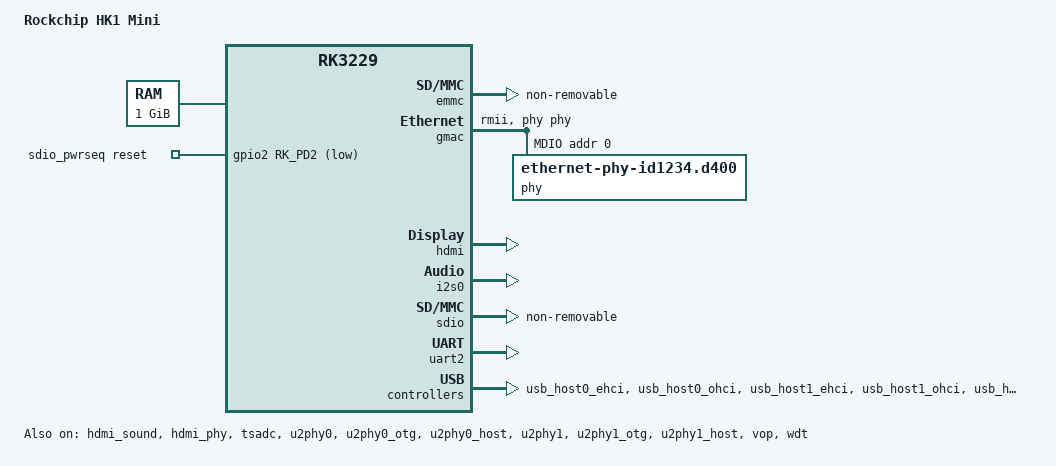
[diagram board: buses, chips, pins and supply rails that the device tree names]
// SPDX-License-Identifier: (GPL-2.0 OR MIT)

/dts-v1/;

#include <dt-bindings/clock/rk3228-cru.h>
#include <dt-bindings/gpio/gpio.h>
#include <dt-bindings/input/input.h>
#include <dt-bindings/pinctrl/rockchip.h>
#include "rk322x.dtsi"

/ {
	model = "Rockchip HK1 Mini";
	compatible = "friendlyarm,hk1-mini","rockchip,rk3229";
	
	aliases {
		ethernet0 = &rtl8125_1;
		ethernet1 = &rtl8125_2;
		mmc0 = &sdhci;
		mmc1 = &sdmmc0;

		led-boot = &power_led;
		led-failsafe = &power_led;
		led-running = &power_led;
		led-upgrade = &power_led;
	};

	chosen {
		bootargs = "earlyprintk=uart8250,mmio32,0x11030000";
	};

	gpio_keys {
		compatible = "gpio-keys";
		#address-cells = <1>;
		#size-cells = <0>;
		autorepeat;

		pinctrl-names = "default";
		pinctrl-0 = <&pwr_key>;

		power_key: power-key {
			label = "GPIO Key Power";
			gpios = <&gpio3 RK_PD1 GPIO_ACTIVE_LOW>;
			linux,code = <KEY_POWER>;
			debounce-interval = <100>;
			wakeup-source;
			status = "disabled";
		};
	};

	ir_receiver: ir-receiver {
		compatible = "gpio-ir-receiver";
		gpios = <&gpio1 RK_PB3 GPIO_ACTIVE_LOW>;
		pinctrl-0 = <&ir_int>;
		pinctrl-names = "default";
		status = "disabled";
	};

	memory@60000000 {
		device_type = "memory";
		reg = <0x60000000 0x40000000>;
	};

	reserved-memory {
		#address-cells = <1>;
		#size-cells = <1>;
		ranges;

		trust_reserved: trust@68400000 {
			reg = <0x68400000 0xe00000>;
			no-map;
		};
	};

	sdio_pwrseq: sdio-pwrseq {
		compatible = "mmc-pwrseq-simple";
		pinctrl-names = "default";
		pinctrl-0 = <&wifi_enable_h>;
		reset-gpios = <&gpio2 RK_PD2 GPIO_ACTIVE_LOW>;
	};

	timer {
		/delete-property/ arm,cpu-registers-not-fw-configured;
	};
};

&cpu_alert1 {
	temperature = <105000>;
};

&cpu_crit {
	temperature = <115000>;
};

&cpu_thermal {
	cooling-maps {
		/delete-node/ map0;
	};
};

&cpu0_opp_table {

	opp-408000000 {
		opp-microvolt = <950000 950000 1275000>;
	};

	opp-600000000 {
		opp-microvolt = <975000 975000 1275000>;
	};

	opp-816000000 {
		opp-microvolt = <1000000 1000000 1275000>;
	};

	opp-1008000000 {
		opp-microvolt = <1175000 1175000 1275000>;
	};

	opp-1200000000 {
		opp-microvolt = <1275000 1275000 1275000>;
	};
};

&cru {
	assigned-clocks = <&cru PLL_GPLL>, <&cru ARMCLK>,
			  <&cru PLL_CPLL>, <&cru ACLK_PERI>,
			  <&cru HCLK_PERI>, <&cru PCLK_PERI>,
			  <&cru ACLK_CPU>, <&cru HCLK_CPU>,
			  <&cru PCLK_CPU>, <&cru ACLK_VOP>;

	assigned-clock-rates = <1200000000>, <816000000>,
				<500000000>, <150000000>,
				<150000000>, <75000000>,
				<150000000>, <150000000>,
				<75000000>, <400000000>;
};

&emmc {
	cap-mmc-highspeed;
	keep-power-in-suspend;
	non-removable;
};

&gmac {
	assigned-clocks = <&cru SCLK_MAC_SRC>;
	assigned-clock-rates = <50000000>;
	clock_in_out = "output";
	phy-handle = <&phy>;
	phy-mode = "rmii";
	status = "okay";

	mdio {
		compatible = "snps,dwmac-mdio";
		#address-cells = <1>;
		#size-cells = <0>;

		phy: phy@0 {
			compatible = "ethernet-phy-id1234.d400",
			             "ethernet-phy-ieee802.3-c22";
			reg = <0>;
			clocks = <&cru SCLK_MAC_PHY>;
			phy-is-integrated;
			resets = <&cru SRST_MACPHY>;
		};
	};
};

&gpu {
	assigned-clocks = <&cru ACLK_GPU>;
	assigned-clock-rates = <300000000>;
};

&hdmi {
	status = "okay";
};

&hdmi_sound {
	status = "okay";
};

&hdmi_phy {
	status = "okay";
};

&i2s0 {
	status = "okay";
};

&pinctrl {

	ir {
		ir_int: ir-int {
			rockchip,pins = <1 RK_PB3 RK_FUNC_GPIO &pcfg_pull_none>;
		};
	};

	keys {
		pwr_key: pwr-key {
			rockchip,pins = <3 RK_PC7 RK_FUNC_GPIO &pcfg_pull_up>;
		};
	};

	pwm1 {
		pwm1_pin_pull_down: pwm1-pin-pull-down {
			rockchip,pins = <0 RK_PD6 2 &pcfg_pull_down>;
		};
	};

	pwm2 {
		pwm2_pin_pull_up: pwm2-pin-pull-up {
			rockchip,pins = <1 RK_PB4 2 &pcfg_pull_up>;
		};
	};

	sdio-pwrseq {
		wifi_enable_h: wifi-enable-h {
			rockchip,pins = <2 RK_PD2 RK_FUNC_GPIO &pcfg_pull_none>;
		};
	};

	usb {
		host_vbus_drv: host-vbus-drv {
			rockchip,pins = <3 RK_PC4 RK_FUNC_GPIO &pcfg_pull_none>;
		};

		otg_vbus_drv: otg-vbus-drv {
			rockchip,pins = <3 RK_PC6 RK_FUNC_GPIO &pcfg_pull_none>;
		};
	};

};

&sdio {
	mmc-pwrseq = <&sdio_pwrseq>;
	cap-sd-highspeed;
	cap-sdio-irq;
	keep-power-in-suspend;
	non-removable;
	no-sd;
};

&sdmmc {
	cap-sd-highspeed;
	keep-power-in-suspend;
	no-sdio;
};

&tsadc {
	rockchip,grf = <&grf>;
	rockchip,hw-tshut-mode = <0>;
	rockchip,hw-tshut-polarity = <1>;
	rockchip,hw-tshut-temp = <120000>;
	status = "okay";
};

&u2phy0 {
	status = "okay";
};

&u2phy0_otg {
	status = "okay";
};

&u2phy0_host {
	status = "okay";
};

&u2phy1 {
	status = "okay";
};

&u2phy1_otg {
	status = "okay";
};

&u2phy1_host {
	status = "okay";
};

&uart1 {
	pinctrl-names = "default";
	pinctrl-0 = <&uart11_xfer &uart11_rts &uart11_cts>;
};

&uart2 {
	status = "okay";
};

&usb_host0_ehci {
	status = "okay";
};

&usb_host0_ohci {
	status = "okay";
};

&usb_host1_ehci {
	status = "okay";
};

&usb_host1_ohci {
	status = "okay";
};

&usb_host2_ehci {
	status = "okay";
};

&usb_host2_ohci {
	status = "okay";
};

&usb_otg {
	status = "okay";
};

&vop {
	assigned-clocks = <&cru DCLK_VOP>;
	assigned-clock-parents = <&cru SCLK_HDMI_PHY>;
	status = "okay";
};

&vop_mmu {
	status = "okay";
};

&wdt {
	status = "okay";
};
